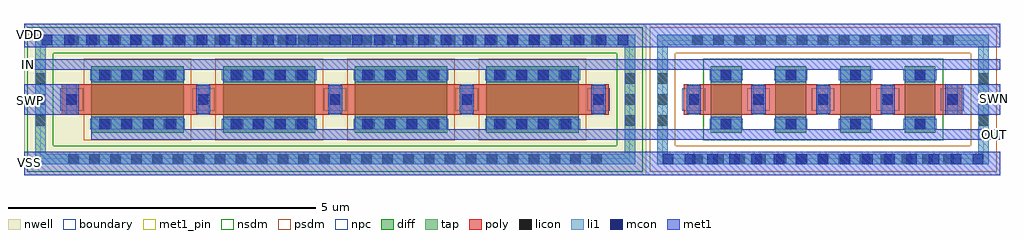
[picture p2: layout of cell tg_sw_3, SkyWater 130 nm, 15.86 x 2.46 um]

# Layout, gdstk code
from math import pi, radians
import gdstk
lib = gdstk.Library(unit=1e-6, precision=1e-09)
def R(c, l, rs):  # rectangles x0, y0, x1, y1
    for r in rs: c.add(gdstk.rectangle(r[:2], r[2:], *l))
def A(c, l, x, y, w, h, nx, ny, dx, dy):  # array of equal rectangles
    R(c, l, [(x+i*dx, y+j*dy, x+i*dx+w, y+j*dy+h) for i in range(nx) for j in range(ny)])
nwell = (64, 20)
diff = (65, 20)
tap = (65, 44)
poly = (66, 20)
licon = (66, 44)
li1 = (67, 20)
mcon = (67, 44)
met1_pin = (68, 16)
met1 = (68, 20)
nsdm = (93, 44)
psdm = (94, 20)
npc = (95, 20)
boundary = (235, 4)

sky130_fd_pr__nfet_01v8_ = lib.new_cell('sky130_fd_pr__nfet_01v8_G4VVNX')
A(sky130_fd_pr__nfet_01v8_, diff, -0.54, -1.825, 1.08, 0.5, 1, 4, 0, 1.05)
R(sky130_fd_pr__nfet_01v8_, tap, [(-1.05,-2.695,1.05,-2.525), (-1.05,-2.525,-0.88,2.525), (0.88,-2.525,1.05,2.525), (-1.05,2.525,1.05,2.695)])
R(sky130_fd_pr__nfet_01v8_, poly, [(-0.25,-2.265,0.25,2.265)])
A(sky130_fd_pr__nfet_01v8_, licon, -0.425, -2.695, 0.17, 0.17, 3, 2, 0.34, 5.22)
A(sky130_fd_pr__nfet_01v8_, licon, -1.05, -2.125, 0.17, 0.17, 1, 6, 0, 0.34)
A(sky130_fd_pr__nfet_01v8_, licon, 0.88, -2.125, 0.17, 0.17, 1, 6, 0, 0.34)
A(sky130_fd_pr__nfet_01v8_, licon, -0.48, -1.66, 0.17, 0.17, 1, 4, 0, 1.05)
A(sky130_fd_pr__nfet_01v8_, licon, 0.31, -1.66, 0.17, 0.17, 1, 4, 0, 1.05)
A(sky130_fd_pr__nfet_01v8_, licon, -1.05, -0.085, 0.17, 0.17, 3, 1, 0.965, 0)
A(sky130_fd_pr__nfet_01v8_, licon, -1.05, 0.255, 0.17, 0.17, 1, 6, 0, 0.34)
A(sky130_fd_pr__nfet_01v8_, licon, 0.88, 0.255, 0.17, 0.17, 1, 6, 0, 0.34)
R(sky130_fd_pr__nfet_01v8_, licon, [(-0.085,-2.185,0.085,-2.015), (-0.085,-1.135,0.085,-0.965), (-0.085,0.965,0.085,1.135), (-0.085,2.015,0.085,2.185)])
A(sky130_fd_pr__nfet_01v8_, li1, -0.25, -2.185, 0.5, 0.17, 1, 5, 0, 1.05)
A(sky130_fd_pr__nfet_01v8_, li1, -0.48, -1.845, 0.17, 0.54, 1, 4, 0, 1.05)
A(sky130_fd_pr__nfet_01v8_, li1, 0.31, -1.845, 0.17, 0.54, 1, 4, 0, 1.05)
R(sky130_fd_pr__nfet_01v8_, li1, [(-1.05,-2.695,1.05,-2.525), (-1.05,-2.525,-0.88,2.525), (0.88,-2.525,1.05,2.525), (-1.05,2.525,1.05,2.695)])
A(sky130_fd_pr__nfet_01v8_, mcon, -0.085, -2.185, 0.17, 0.17, 1, 5, 0, 1.05)
A(sky130_fd_pr__nfet_01v8_, mcon, -0.48, -1.66, 0.17, 0.17, 1, 4, 0, 1.05)
A(sky130_fd_pr__nfet_01v8_, mcon, 0.31, -1.66, 0.17, 0.17, 1, 4, 0, 1.05)
A(sky130_fd_pr__nfet_01v8_, met1, -0.23, -2.215, 0.46, 0.23, 1, 5, 0, 1.05)
A(sky130_fd_pr__nfet_01v8_, met1, -0.51, -1.825, 0.23, 0.5, 1, 4, 0, 1.05)
A(sky130_fd_pr__nfet_01v8_, met1, 0.28, -1.825, 0.23, 0.5, 1, 4, 0, 1.05)
R(sky130_fd_pr__nfet_01v8_, nsdm, [(-0.665,-1.95,0.665,1.95)])
R(sky130_fd_pr__nfet_01v8_, psdm, [(-1.175,-2.82,1.175,-2.4), (-1.175,-2.4,-0.755,2.4), (0.755,-2.4,1.175,2.4), (-1.175,2.4,1.175,2.82)])
A(sky130_fd_pr__nfet_01v8_, npc, -0.185, -2.285, 0.37, 0.37, 1, 5, 0, 1.05)
R(sky130_fd_pr__nfet_01v8_, boundary, [(-0.965,-2.61,0.965,2.61)])

sky130_fd_pr__pfet_01v8_ = lib.new_cell('sky130_fd_pr__pfet_01v8_SEQ3W4')
R(sky130_fd_pr__pfet_01v8_, nwell, [(-1.23,-5.055,1.23,5.055)])
A(sky130_fd_pr__pfet_01v8_, diff, -0.54, -3.96, 1.08, 1.5, 1, 4, 0, 2.14)
R(sky130_fd_pr__pfet_01v8_, tap, [(-1.05,-4.875,1.05,-4.705), (-1.05,-4.705,-0.88,4.705), (0.88,-4.705,1.05,4.705), (-1.05,4.705,1.05,4.875)])
R(sky130_fd_pr__pfet_01v8_, poly, [(-0.25,-4.445,0.25,4.445)])
A(sky130_fd_pr__pfet_01v8_, licon, -0.425, -4.875, 0.17, 0.17, 3, 2, 0.34, 9.58)
A(sky130_fd_pr__pfet_01v8_, licon, -0.085, -4.365, 0.17, 0.17, 1, 5, 0, 2.14)
A(sky130_fd_pr__pfet_01v8_, licon, -1.05, -4.335, 0.17, 0.17, 1, 26, 0, 0.34)
A(sky130_fd_pr__pfet_01v8_, licon, 0.88, -4.335, 0.17, 0.17, 1, 26, 0, 0.34)
A(sky130_fd_pr__pfet_01v8_, licon, -0.48, -3.805, 0.17, 0.17, 1, 4, 0, 0.34)
A(sky130_fd_pr__pfet_01v8_, licon, 0.31, -3.805, 0.17, 0.17, 1, 4, 0, 0.34)
A(sky130_fd_pr__pfet_01v8_, licon, -0.48, -1.665, 0.17, 0.17, 1, 4, 0, 0.34)
A(sky130_fd_pr__pfet_01v8_, licon, 0.31, -1.665, 0.17, 0.17, 1, 4, 0, 0.34)
A(sky130_fd_pr__pfet_01v8_, licon, -0.48, 0.475, 0.17, 0.17, 1, 4, 0, 0.34)
A(sky130_fd_pr__pfet_01v8_, licon, 0.31, 0.475, 0.17, 0.17, 1, 4, 0, 0.34)
A(sky130_fd_pr__pfet_01v8_, licon, -0.48, 2.615, 0.17, 0.17, 1, 4, 0, 0.34)
A(sky130_fd_pr__pfet_01v8_, licon, 0.31, 2.615, 0.17, 0.17, 1, 4, 0, 0.34)
A(sky130_fd_pr__pfet_01v8_, li1, -0.25, -4.365, 0.5, 0.17, 1, 5, 0, 2.14)
A(sky130_fd_pr__pfet_01v8_, li1, -0.48, -3.98, 0.17, 1.54, 1, 4, 0, 2.14)
A(sky130_fd_pr__pfet_01v8_, li1, 0.31, -3.98, 0.17, 1.54, 1, 4, 0, 2.14)
R(sky130_fd_pr__pfet_01v8_, li1, [(-1.05,-4.875,1.05,-4.705), (-1.05,-4.705,-0.88,4.705), (0.88,-4.705,1.05,4.705), (-1.05,4.705,1.05,4.875)])
A(sky130_fd_pr__pfet_01v8_, mcon, -0.085, -4.365, 0.17, 0.17, 1, 5, 0, 2.14)
A(sky130_fd_pr__pfet_01v8_, mcon, -0.48, -3.835, 0.17, 0.17, 1, 4, 0, 0.36)
A(sky130_fd_pr__pfet_01v8_, mcon, 0.31, -3.835, 0.17, 0.17, 1, 4, 0, 0.36)
A(sky130_fd_pr__pfet_01v8_, mcon, -0.48, -1.695, 0.17, 0.17, 1, 4, 0, 0.36)
A(sky130_fd_pr__pfet_01v8_, mcon, 0.31, -1.695, 0.17, 0.17, 1, 4, 0, 0.36)
A(sky130_fd_pr__pfet_01v8_, mcon, -0.48, 0.445, 0.17, 0.17, 1, 4, 0, 0.36)
A(sky130_fd_pr__pfet_01v8_, mcon, 0.31, 0.445, 0.17, 0.17, 1, 4, 0, 0.36)
A(sky130_fd_pr__pfet_01v8_, mcon, -0.48, 2.585, 0.17, 0.17, 1, 4, 0, 0.36)
A(sky130_fd_pr__pfet_01v8_, mcon, 0.31, 2.585, 0.17, 0.17, 1, 4, 0, 0.36)
A(sky130_fd_pr__pfet_01v8_, met1, -0.23, -4.395, 0.46, 0.23, 1, 5, 0, 2.14)
A(sky130_fd_pr__pfet_01v8_, met1, -0.51, -3.96, 0.23, 1.5, 1, 4, 0, 2.14)
A(sky130_fd_pr__pfet_01v8_, met1, 0.28, -3.96, 0.23, 1.5, 1, 4, 0, 2.14)
R(sky130_fd_pr__pfet_01v8_, nsdm, [(-1.175,-5,1.175,-4.58), (-1.175,-4.58,-0.755,4.58), (0.755,-4.58,1.175,4.58), (-1.175,4.58,1.175,5)])
A(sky130_fd_pr__pfet_01v8_, psdm, -0.665, -4.085, 1.33, 1.75, 1, 4, 0, 2.14)
A(sky130_fd_pr__pfet_01v8_, npc, -0.185, -4.465, 0.37, 0.37, 1, 5, 0, 2.14)
R(sky130_fd_pr__pfet_01v8_, boundary, [(-0.965,-4.79,0.965,4.79)])

tg_sw_3 = lib.new_cell('tg_sw_3')
R(tg_sw_3, li1, [(10.025,-0.085,15.415,0.085), (-0.08,1.845,9.665,2.015)])
A(tg_sw_3, mcon, 10.115, -0.085, 0.17, 0.17, 15, 1, 0.36, 0)
A(tg_sw_3, mcon, 0.025, 1.845, 0.17, 0.17, 27, 1, 0.36, 0)
R(tg_sw_3, met1_pin, [(-0.2,-0.09,-0.145,-0.035), (15.48,0.38,15.53,0.425), (-0.185,0.93,-0.14,0.975), (15.48,0.965,15.53,1.01), (-0.215,1.51,-0.17,1.555), (-0.2,2,-0.145,2.055)])
R(tg_sw_3, met1, [(-0.265,-0.265,15.595,0.115), (0.83,0.315,15.595,0.485), (-0.265,0.715,0.625,1.215), (14.705,0.715,15.595,1.215), (-0.265,1.445,15.595,1.615), (-0.265,1.815,15.595,2.195)])
tg_sw_3.add(gdstk.Reference(sky130_fd_pr__nfet_01v8_, (12.72,0.965), rotation=3*pi/2))
tg_sw_3.add(gdstk.Reference(sky130_fd_pr__pfet_01v8_, (4.79,0.965), rotation=3*pi/2))
tg_sw_3.add(gdstk.Label('VDD', (-0.172,2.027), layer=68, texttype=5))
tg_sw_3.add(gdstk.Label('VSS', (-0.172,-0.062), layer=68, texttype=5))
tg_sw_3.add(gdstk.Label('IN', (-0.192,1.532), layer=68, texttype=5))
tg_sw_3.add(gdstk.Label('SWP', (-0.162,0.952), layer=68, texttype=5))
tg_sw_3.add(gdstk.Label('SWN', (15.505,0.987), layer=68, texttype=5))
tg_sw_3.add(gdstk.Label('OUT', (15.505,0.402), layer=68, texttype=5))

lib.write_gds('tg_sw_3.gds')
